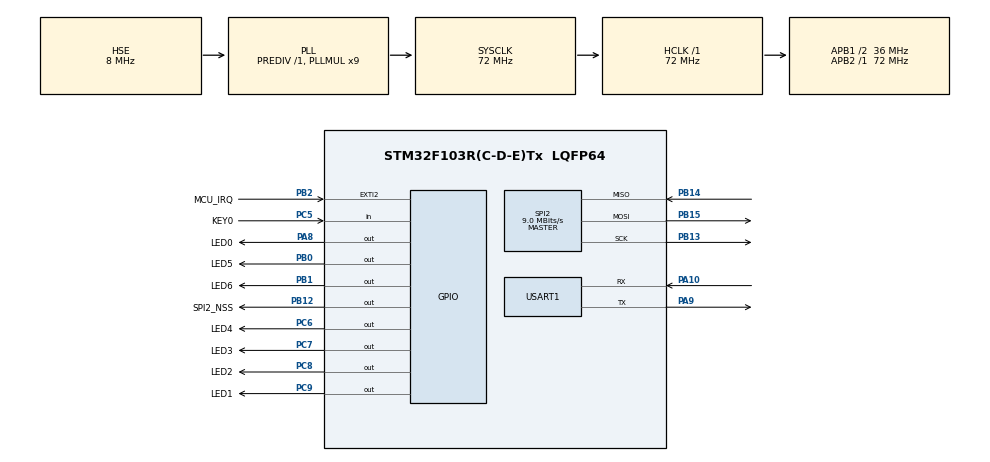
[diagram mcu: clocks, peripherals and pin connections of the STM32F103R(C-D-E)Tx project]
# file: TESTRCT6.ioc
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Mcu.Family=STM32F1
SPI2.VirtualType=VM_MASTER
PC6.GPIO_Label=LED4
PB0.GPIO_Label=LED5
PB13.Signal=SPI2_SCK
PB15.Signal=SPI2_MOSI
RCC.SYSCLKSource=RCC_SYSCLKSOURCE_PLLCLK
ProjectManager.StackSize=0x400
PD1-OSC_OUT.Signal=RCC_OSC_OUT
PB2.GPIO_ModeDefaultEXTI=GPIO_MODE_IT_RISING
SPI2.CLKPolarity=SPI_POLARITY_LOW
PB0.PinState=GPIO_PIN_SET
PB1.GPIO_PuPd=GPIO_PULLDOWN
RCC.HCLKFreq_Value=72000000
RCC.APB2TimFreq_Value=72000000
PC7.Signal=GPIO_Output
RCC.AHBFreq_Value=72000000
SPI2.BaudRatePrescaler=SPI_BAUDRATEPRESCALER_4
PB2.Signal=GPXTI2
RCC.PLLMUL=RCC_PLL_MUL9
PB12.GPIO_Label=SPI2_NSS
PB1.GPIO_Speed=GPIO_SPEED_FREQ_HIGH
PA14.Mode=Serial_Wire
PB14.Mode=Full_Duplex_Master
PB1.GPIO_Label=LED6
SPI2.CalculateBaudRate=9.0 MBits/s
PA8.Signal=GPIO_Output
PB2.GPIO_PuPd=GPIO_PULLDOWN
Mcu.Package=LQFP64
PB1.Signal=GPIO_Output
SPI2.Mode=SPI_MODE_MASTER
PA10.Signal=USART1_RX
PC6.GPIO_PuPd=GPIO_PULLDOWN
PC8.GPIO_Speed=GPIO_SPEED_FREQ_HIGH
SPI2.CLKPhase=SPI_PHASE_2EDGE
NVIC.EXTI2_IRQn=true\:1\:0\:true\:false\:true\:true\:true
RCC.APB1TimFreq_Value=72000000
SPI2.Direction=SPI_DIRECTION_2LINES
PC5.Signal=GPIO_Input
PB13.Mode=Full_Duplex_Master
NVIC.USART1_IRQn=true\:1\:1\:true\:false\:true\:true\:true
PC6.GPIO_Speed=GPIO_SPEED_FREQ_HIGH
RCC.PLLSourceVirtual=RCC_PLLSOURCE_HSE
PD1-OSC_OUT.Mode=HSE-External-Oscillator
PA10.Mode=Asynchronous
PC9.GPIO_Label=LED1
PC8.Signal=GPIO_Output
PC6.Signal=GPIO_Output
PD0-OSC_IN.Signal=RCC_OSC_IN
RCC.APB1CLKDivider=RCC_HCLK_DIV2
PC5.GPIO_PuPd=GPIO_PULLUP
PB0.GPIO_Speed=GPIO_SPEED_FREQ_HIGH
PC8.GPIO_Label=LED2
PA13.Signal=SYS_JTMS-SWDIO
PA9.Mode=Asynchronous
PA8.GPIO_Label=LED0
ProjectManager.TargetToolchain=STM32CubeIDE
PA9.Signal=USART1_TX
RCC.USBFreq_Value=72000000
PC7.GPIO_PuPd=GPIO_PULLDOWN
PB12.GPIO_Speed=GPIO_SPEED_FREQ_HIGH
PD0-OSC_IN.Mode=HSE-External-Oscillator
PB14.Signal=SPI2_MISO
board=custom
PC7.GPIO_Speed=GPIO_SPEED_FREQ_HIGH
PB15.Mode=Full_Duplex_Master
RCC.APB2Freq_Value=72000000
PC9.GPIO_ModeDefaultOutputPP=GPIO_MODE_OUTPUT_PP
PC9.GPIO_PuPd=GPIO_PULLDOWN
PA13.Mode=Serial_Wire
Mcu.Name=STM32F103R(C-D-E)Tx
PC7.GPIO_Label=LED3
PC8.GPIO_PuPd=GPIO_PULLDOWN
RCC.SYSCLKFreq_VALUE=72000000
PC5.GPIO_Label=KEY0
USART1.VirtualMode=VM_ASYNC
PC5.GPIO_Mode=GPIO_MODE_INPUT
PA14.Signal=SYS_JTCK-SWCLK
PB2.GPIO_Label=MCU_IRQ
ProjectManager.HeapSize=0x200
PA8.GPIO_PuPd=GPIO_PULLUP
PC9.GPIO_Speed=GPIO_SPEED_FREQ_HIGH
NVIC.PriorityGroup=NVIC_PRIORITYGROUP_2
PC9.Signal=GPIO_Output
PB12.GPIO_PuPd=GPIO_PULLDOWN
RCC.APB1Freq_Value=36000000
PB0.Signal=GPIO_Output
PB12.Signal=GPIO_Output
PB0.GPIO_PuPd=GPIO_PULLUP

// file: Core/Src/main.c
/* USER CODE BEGIN Header */
/**
  ******************************************************************************
  * @file           : main.c
  * @brief          : Main program body
  ******************************************************************************
  * @attention
  *
  * <h2><center>&copy; Copyright (c) 2021 STMicroelectronics.
  * All rights reserved.</center></h2>
  *
  * This software component is licensed by ST under BSD 3-Clause license,
  * the "License"; You may not use this file except in compliance with the
  * License. You may obtain a copy of the License at:
  *                        opensource.org/licenses/BSD-3-Clause
  *
  ******************************************************************************
  */
/* USER CODE END Header */
#include "main.h"
#include "spi.h"
#include "usart.h"
#include "gpio.h"

/* USER CODE BEGIN Includes */

#include "stdbool.h"
#include "stdio.h"
#include "nfc06a1.h"
#include "platform.h"
#include "demo.h"
#include "stm32f1xx_hal.h"

/* USER CODE END Includes */

/* USER CODE BEGIN PV */

uint8_t globalCommProtectCnt = 0;   /*!< Global Protection counter     */
uint8_t uartrxcmd = 0;
bool modflag = false;

/* USER CODE END PV */

void SystemClock_Config(void);
/* USER CODE BEGIN PFP */

//printf redefine
#ifdef __GNUC__
#define PUTCHAR_PROTOTYPE int __io_putchar(int ch)
#else
#define PUTCHAR_PROTOTYPE int fputc(int ch, FILE *f)
#endif

PUTCHAR_PROTOTYPE
{
	HAL_UART_Transmit(&huart1, (uint8_t *)&ch, 1,0xff);
	return ch;
}

/* USER CODE END PFP */

int main(void)
{

  /* MCU Configuration--------------------------------------------------------*/

  /* Reset of all peripherals, Initializes the Flash interface and the Systick. */
  HAL_Init();

  /* Configure the system clock */
  SystemClock_Config();

  /* Initialize all configured peripherals */
  MX_GPIO_Init();
  MX_SPI2_Init();
  MX_USART1_UART_Init();
  /* USER CODE BEGIN 2 */

  HAL_UART_Receive_IT(&huart1, &uartrxcmd, 1);

//  printf("start demo...\r\n");

  if(!demoIni())
  {
	  printf("Initialization [ERR]\r\n");
	  while(1)
	  {
		  printf("while loop\r\n");
		  NFC06A1_LED_Toggle( TX_LED );
		  NFC06A1_LED_Toggle( TA_LED );
		  NFC06A1_LED_Toggle( TB_LED );
		  NFC06A1_LED_Toggle( TF_LED );
		  NFC06A1_LED_Toggle( TV_LED );
		  NFC06A1_LED_Toggle( AP2P_LED );
		  platformDelay(2000);
	  }
  }
  else
  {
	printf("Initialization [OK]\r\n");

	for (int i = 0; i < 6; i++)
	{
		NFC06A1_LED_Toggle( TX_LED );
		NFC06A1_LED_Toggle( TA_LED );
		NFC06A1_LED_Toggle( TB_LED );
		NFC06A1_LED_Toggle( TF_LED );
		NFC06A1_LED_Toggle( TV_LED );
		NFC06A1_LED_Toggle( AP2P_LED );
		platformDelay(200);
	}

		NFC06A1_LED_OFF( TA_LED );
		NFC06A1_LED_OFF( TB_LED );
		NFC06A1_LED_OFF( TF_LED );
		NFC06A1_LED_OFF( TV_LED );
		NFC06A1_LED_OFF( AP2P_LED );
		NFC06A1_LED_OFF( TX_LED );
  }

  /* USER CODE END 2 */

  /* Infinite loop */
  /* USER CODE BEGIN WHILE */
  while (1)
  {
//	  HAL_GPIO_TogglePin(LED0_GPIO_Port, LED0_Pin);
//	  count ++;
//	  printf("test %d\r\n",count);
//	  HAL_Delay(1000);

	  demoCycle();

    /* USER CODE END WHILE */

  }
}

void SystemClock_Config(void)
{
  RCC_OscInitTypeDef RCC_OscInitStruct = {0};
  RCC_ClkInitTypeDef RCC_ClkInitStruct = {0};

  /** Initializes the RCC Oscillators according to the specified parameters
  * in the RCC_OscInitTypeDef structure.
  */
  RCC_OscInitStruct.OscillatorType = RCC_OSCILLATORTYPE_HSE;
  RCC_OscInitStruct.HSEState = RCC_HSE_ON;
  RCC_OscInitStruct.HSEPredivValue = RCC_HSE_PREDIV_DIV1;
  RCC_OscInitStruct.HSIState = RCC_HSI_ON;
  RCC_OscInitStruct.PLL.PLLState = RCC_PLL_ON;
  RCC_OscInitStruct.PLL.PLLSource = RCC_PLLSOURCE_HSE;
  RCC_OscInitStruct.PLL.PLLMUL = RCC_PLL_MUL9;
  if (HAL_RCC_OscConfig(&RCC_OscInitStruct) != HAL_OK)
  {
    Error_Handler();
  }
  /** Initializes the CPU, AHB and APB buses clocks
  */
  RCC_ClkInitStruct.ClockType = RCC_CLOCKTYPE_HCLK|RCC_CLOCKTYPE_SYSCLK
                              |RCC_CLOCKTYPE_PCLK1|RCC_CLOCKTYPE_PCLK2;
  RCC_ClkInitStruct.SYSCLKSource = RCC_SYSCLKSOURCE_PLLCLK;
  RCC_ClkInitStruct.AHBCLKDivider = RCC_SYSCLK_DIV1;
  RCC_ClkInitStruct.APB1CLKDivider = RCC_HCLK_DIV2;
  RCC_ClkInitStruct.APB2CLKDivider = RCC_HCLK_DIV1;

  if (HAL_RCC_ClockConfig(&RCC_ClkInitStruct, FLASH_LATENCY_2) != HAL_OK)
  {
    Error_Handler();
  }
}

void Error_Handler(void)
{
  __disable_irq();
  while (1)
  {
  }
}

/************************ (C) COPYRIGHT STMicroelectronics *****END OF FILE****/
